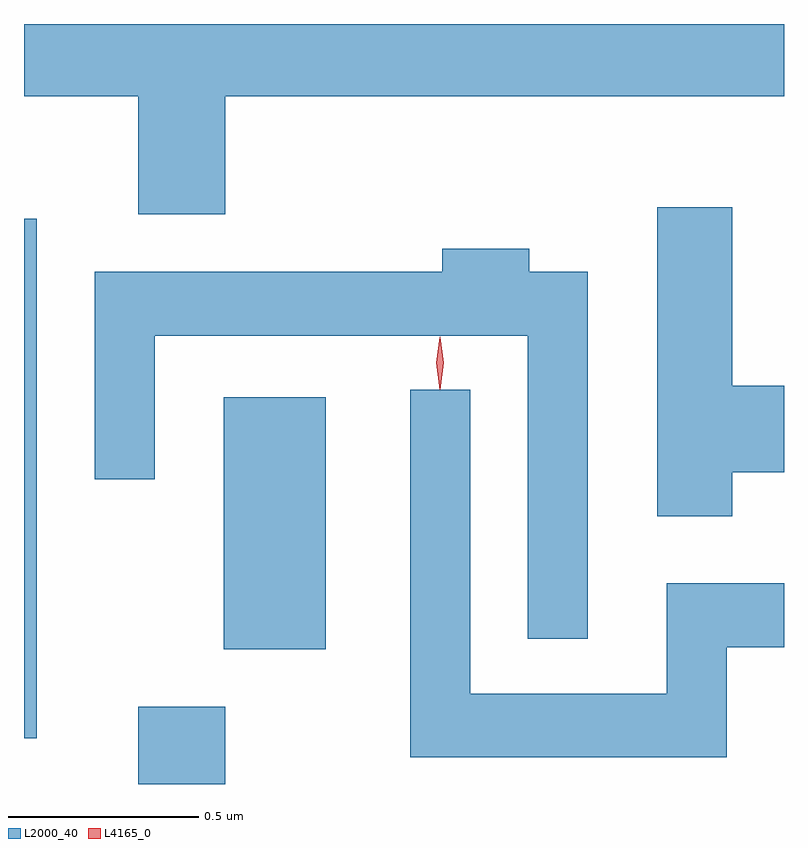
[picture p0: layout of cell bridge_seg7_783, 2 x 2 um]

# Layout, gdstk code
import gdstk
lib = gdstk.Library(unit=1e-6, precision=1e-09)
def R(c, l, rs):  # rectangles x0, y0, x1, y1
    for r in rs: c.add(gdstk.rectangle(r[:2], r[2:], *l))
def P(c, l, *ps):  # polygons
    for p in ps: c.add(gdstk.Polygon(p, *l))
L2000_40 = (2000, 40)
L4165_0 = (4165, 0)

bridge_seg7_783 = lib.new_cell('bridge_seg7_783')
R(bridge_seg7_783, L2000_40, [(508.821,1763.566,509.049,1763.769), (508.52,1763.686,508.554,1765.053), (509.046,1763.921,509.314,1764.584)])
P(bridge_seg7_783, L2000_40, [(509.049,1765.376),(510.52,1765.376),(510.52,1765.566),(508.52,1765.566),(508.52,1765.376),(508.821,1765.376),(508.821,1765.066),(509.049,1765.066)],
  [(510.384,1764.386),(510.52,1764.386),(510.52,1764.614),(510.384,1764.614),(510.384,1765.084),(510.186,1765.084),(510.186,1764.271),(510.384,1764.271)],
  [(510.004,1764.914),(509.849,1764.914),(509.849,1764.974),(509.621,1764.974),(509.621,1764.914),(508.706,1764.914),(508.706,1764.368),(508.864,1764.368),(508.864,1764.746),(509.846,1764.746),(509.846,1763.948),(510.004,1763.948)],
  [(510.369,1763.926),(510.52,1763.926),(510.52,1764.094),(510.211,1764.094),(510.211,1763.804),(509.694,1763.804),(509.694,1764.603),(509.536,1764.603),(509.536,1763.636),(510.369,1763.636)])
P(bridge_seg7_783, L4165_0, [(509.614,1764.607),(509.605,1764.674),(509.614,1764.74),(509.615,1764.741),(509.615,1764.74),(509.625,1764.674),(509.615,1764.607),(509.615,1764.607)],
  [(509.614,1764.604),(509.605,1764.674),(509.614,1764.742),(509.615,1764.743),(509.615,1764.742),(509.625,1764.674),(509.615,1764.604),(509.615,1764.604)])

lib.write_gds('bridge_seg7_783.gds')
